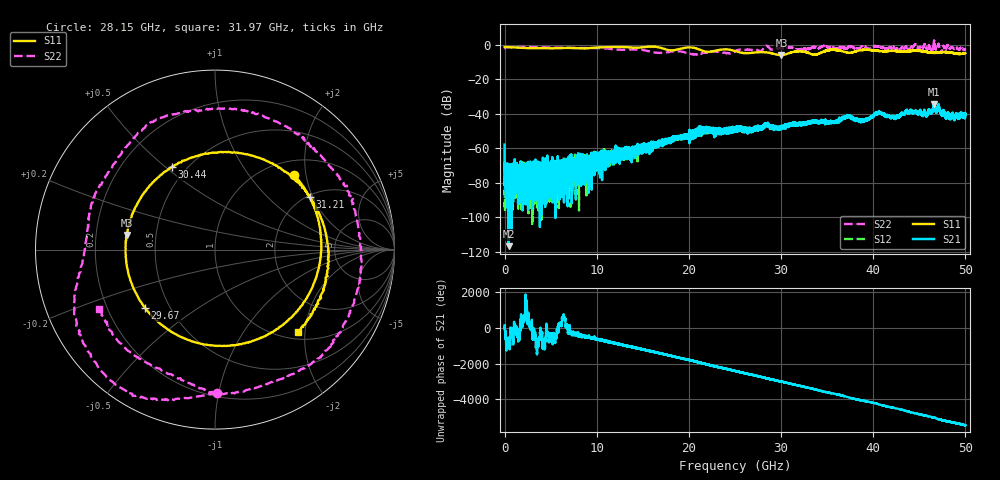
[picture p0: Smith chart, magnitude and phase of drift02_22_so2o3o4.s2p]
!Created with skrf (http://scikit-rf.org).
# Hz S RI R 50.0
!freq ReS11 ImS11 ReS21 ImS21 ReS12 ImS12 ReS22 ImS22
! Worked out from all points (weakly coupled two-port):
!   10001 points, 300 kHz to 50 GHz, reference 50 ohm
!   highest |S21| = -34.37 dB at 46.58 GHz (marker M1); lowest = -116.9 dB at 435.3 MHz (marker M2)
!   lowest |S11| = -6.1 dB at 30.04 GHz (marker M3), VSWR 2.97, Z = 17 + j3.65 ohm
!   |S11| at or under -10 dB: nowhere
!   |S22| runs from -5.7 to 2.5 dB; largest |S21 - S12| = 0.0036
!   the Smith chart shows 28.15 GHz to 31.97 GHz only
!   S11 on the Smith chart (normalised r, x): 28.15 GHz: 1.30, +1.71; 29.67 GHz: 0.36, -0.32; 30.44 GHz: 0.42, +0.53; 31.21 GHz: 2.07, +1.91; 31.97 GHz: 1.16, -1.84
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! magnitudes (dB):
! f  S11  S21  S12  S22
! 300 kHz  -1.3  -57.9  -69.3  -2.1
! 255.3 MHz  -1.4  -78.0  -79.4  -1.4
! 435.3 MHz  -1.4  -116.9  -85.5  -1.4
! 5.195 GHz  -2.1  -70.8  -73.9  -1.6
! 8.335 GHz  -2.2  -76.9  -70.3  -1.9
! 16.67 GHz  -1.5  -56.8  -57.4  -4.7
! 21.6 GHz  -3.7  -49.4  -49.6  -4.7
! 25 GHz  -3.7  -48.8  -49.0  -3.9
! 28.15 GHz  -4.4  -46.9  -47.0  -2.0
! 29.67 GHz  -5.9  -49.2  -48.4  -2.2
! 30.04 GHz  -6.1  -47.8  -47.6  -2.0
! 30.44 GHz  -5.7  -47.6  -47.2  -1.8
! 31.21 GHz  -4.4  -46.0  -46.2  -1.8
! 31.97 GHz  -3.7  -45.9  -46.3  -2.8
! 33.34 GHz  -5.5  -45.3  -45.0  -1.6
! 37.28 GHz  -4.7  -40.8  -41.5  -1.3
! 38.85 GHz  -3.1  -44.3  -44.0  -1.3
! 40.58 GHz  -3.6  -39.3  -39.4  -1.0
! 41.67 GHz  -3.6  -41.0  -41.2  -1.9
! 46.58 GHz  -4.7  -34.4  -34.8  1.8
! 48.1 GHz  -4.4  -39.6  -40.1  -0.4
! 50 GHz  -4.9  -40.9  -40.8  -2.7
